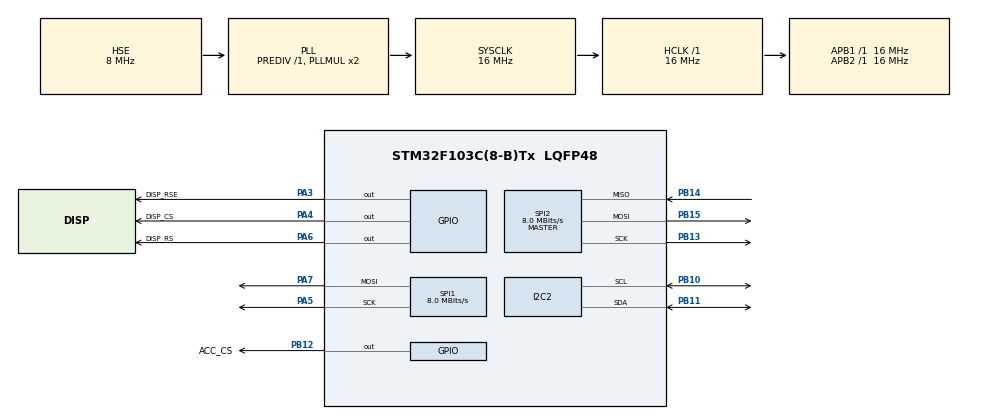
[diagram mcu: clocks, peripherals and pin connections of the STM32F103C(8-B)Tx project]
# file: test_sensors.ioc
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I2C2.I2C_Mode=I2C_Fast
Mcu.Family=STM32F1
Mcu.Name=STM32F103C(8-B)Tx
Mcu.Package=LQFP48
NVIC.PriorityGroup=NVIC_PRIORITYGROUP_4
NVIC.TIM1_UP_IRQn=true\:0\:0\:false\:false\:true\:true\:true
PA13.Mode=Serial_Wire
PA13.Signal=SYS_JTMS-SWDIO
PA14.Mode=Serial_Wire
PA14.Signal=SYS_JTCK-SWCLK
PA3.GPIO_Label=DISP_RSE
PA3.Signal=GPIO_Output
PA4.GPIO_Label=DISP_CS
PA4.PinState=GPIO_PIN_SET
PA4.Signal=GPIO_Output
PA5.Mode=TX_Only_Simplex_Unidirect_Master
PA5.Signal=SPI1_SCK
PA6.GPIO_Label=DISP_RS
PA6.Signal=GPIO_Output
PA7.Mode=TX_Only_Simplex_Unidirect_Master
PA7.Signal=SPI1_MOSI
PB10.Mode=I2C
PB10.Signal=I2C2_SCL
PB11.Mode=I2C
PB11.Signal=I2C2_SDA
PB12.GPIO_Label=ACC_CS
PB12.PinState=GPIO_PIN_SET
PB12.Signal=GPIO_Output
PB13.Mode=Full_Duplex_Master
PB13.Signal=SPI2_SCK
PB14.Mode=Full_Duplex_Master
PB14.Signal=SPI2_MISO
PB15.Mode=Full_Duplex_Master
PB15.Signal=SPI2_MOSI
PD0-OSC_IN.Mode=HSE-External-Oscillator
PD0-OSC_IN.Signal=RCC_OSC_IN
PD1-OSC_OUT.Mode=HSE-External-Oscillator
PD1-OSC_OUT.Signal=RCC_OSC_OUT
ProjectManager.HeapSize=0x200
ProjectManager.StackSize=0x400
ProjectManager.TargetToolchain=Makefile
RCC.AHBFreq_Value=16000000
RCC.APB1Freq_Value=16000000
RCC.APB1TimFreq_Value=16000000
RCC.APB2Freq_Value=16000000
RCC.APB2TimFreq_Value=16000000
RCC.HCLKFreq_Value=16000000
RCC.PLLSourceVirtual=RCC_PLLSOURCE_HSE
RCC.SYSCLKFreq_VALUE=16000000
RCC.SYSCLKSource=RCC_SYSCLKSOURCE_PLLCLK
RCC.USBFreq_Value=16000000
SPI1.CalculateBaudRate=8.0 MBits/s
SPI1.Direction=SPI_DIRECTION_2LINES
SPI1.Mode=SPI_MODE_MASTER
SPI1.VirtualType=VM_MASTER
SPI2.BaudRatePrescaler=SPI_BAUDRATEPRESCALER_2
SPI2.CLKPhase=SPI_PHASE_2EDGE
SPI2.CLKPolarity=SPI_POLARITY_HIGH
SPI2.CalculateBaudRate=8.0 MBits/s
SPI2.Direction=SPI_DIRECTION_2LINES
SPI2.Mode=SPI_MODE_MASTER
SPI2.VirtualType=VM_MASTER
TIM1.Period=999
TIM1.Prescaler=15
VP_TIM1_VS_ClockSourceINT.Mode=Internal
board=custom

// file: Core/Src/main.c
/* USER CODE BEGIN Header */
/**
  ******************************************************************************
  * @file           : main.c
  * @brief          : Main program body
  ******************************************************************************
  * @attention
  *
  * Copyright (c) 2022 STMicroelectronics.
  * All rights reserved.
  *
  * This software is licensed under terms that can be found in the LICENSE file
  * in the root directory of this software component.
  * If no LICENSE file comes with this software, it is provided AS-IS.
  *
  ******************************************************************************
  */
/* USER CODE END Header */
#include "main.h"
#include "i2c.h"
#include "spi.h"
#include "tim.h"
#include "gpio.h"

/* USER CODE BEGIN Includes */
#include <stdio.h>
#include <stdlib.h>
#include <stdbool.h>
#include <string.h>
#include <time.h>
#include <math.h>

#include "display_gmg12864.h"
#include "disp_draw.h"

#include "mag_HMC5883L.h"
#include "acc_ADXL345.h"
#include "clock_DS3231.h"

/* USER CODE END Includes */

void SystemClock_Config(void);

/* USER CODE BEGIN 0 */

static uint8_t disp_bfr[128*64/8] = {0};

static void disp_spi_write_cb(uint8_t * bfr, uint16_t length)
{
  HAL_GPIO_WritePin(DISP_CS_GPIO_Port, DISP_CS_Pin, GPIO_PIN_RESET);
  HAL_SPI_Transmit(&hspi1, bfr, length, 1000);
  HAL_GPIO_WritePin(DISP_CS_GPIO_Port, DISP_CS_Pin, GPIO_PIN_SET);
}

static void disp_set_pin_cb(display_gmg12864_pins_t * pins)
{
  GPIO_PinState states[] = {GPIO_PIN_RESET, GPIO_PIN_SET};
  HAL_GPIO_WritePin(DISP_RSE_GPIO_Port, DISP_RSE_Pin, states[pins->pin_reset] );
  HAL_GPIO_WritePin(DISP_RS_GPIO_Port, DISP_RS_Pin, states[pins->pin_data_cmd] );
}

static void i2c_2_write_cb(uint8_t addr, uint8_t bfr[], uint16_t length)
{
  HAL_I2C_Master_Transmit(&hi2c2, addr << 1, bfr, length, 100);
}
static void i2c_2_read_cb(uint8_t addr, uint8_t bfr[], uint16_t length)
{
  HAL_I2C_Master_Receive(&hi2c2, addr << 1, bfr, length, 100);
}

static void acc_spi_write_cb(uint8_t * bfr, uint16_t length)
{
  HAL_GPIO_WritePin(ACC_CS_GPIO_Port, ACC_CS_Pin, GPIO_PIN_RESET);
  HAL_SPI_Transmit(&hspi2, bfr, length, 10);
  HAL_GPIO_WritePin(ACC_CS_GPIO_Port, ACC_CS_Pin, GPIO_PIN_SET);
}
static void acc_spi_write_read_cb(uint8_t * bfr_tx, uint8_t * bfr_rx, uint16_t length)
{
  HAL_GPIO_WritePin(ACC_CS_GPIO_Port, ACC_CS_Pin, GPIO_PIN_RESET);
  HAL_SPI_TransmitReceive(&hspi2, bfr_tx, bfr_rx, length, 10);
  HAL_GPIO_WritePin(ACC_CS_GPIO_Port, ACC_CS_Pin, GPIO_PIN_SET);
}

typedef struct {
  int16_t x, y, z, t;
} point_t;

static acc_point_t acc;
static mag_point_t mag;
static clock_value_t clock_value;

#define STR_LEN (128/6)
static void update_disp_bfr(uint8_t * bfr)
{
  char str[STR_LEN+6] = {0};

  disp_draw_str_simple(disp_bfr, "mag HMC5883L", 12, 0, 0);
  sprintf(str, "%6d %6d %6d ", mag.x, mag.y, mag.z);
  disp_draw_str_simple(disp_bfr, str, STR_LEN, 0, 1);

  sprintf(str, "acc ADXL345");
  disp_draw_str_simple(disp_bfr, str, strlen(str), 0, 3);
  sprintf(str, "%6d %6d %6d ", acc.x, acc.y, acc.z);
  disp_draw_str_simple(disp_bfr, str, STR_LEN, 0, 4);

  sprintf(str, "Clock DS3231 t=%3d'C", clock_value.temperature);
  disp_draw_str_simple(disp_bfr, str, STR_LEN, 0, 6);
  sprintf(str, "%04d-%02d-%02d %02d:%02d:%02d",
    clock_value.tm_year, clock_value.tm_mon, clock_value.tm_mday,
    clock_value.tm_hour , clock_value.tm_min, clock_value.tm_sec);
  disp_draw_str_simple(disp_bfr, str, STR_LEN, 0, 7);
}
/* USER CODE END 0 */

int main(void)
{

  /* MCU Configuration--------------------------------------------------------*/

  /* Reset of all peripherals, Initializes the Flash interface and the Systick. */
  HAL_Init();

  /* Configure the system clock */
  SystemClock_Config();

  /* Initialize all configured peripherals */
  MX_GPIO_Init();
  MX_SPI1_Init();
  MX_TIM1_Init();
  MX_I2C2_Init();
  MX_SPI2_Init();
  /* USER CODE BEGIN 2 */
  HAL_TIM_Base_Start_IT(&htim1);

  //disp
  static display_gmg12864_t disp_drv = {
    .delay_ms_cb = HAL_Delay,
    .write_spi_cb = disp_spi_write_cb,
    .set_display_pin_cb = disp_set_pin_cb,
    .bfr = disp_bfr,
    .bfr_size = sizeof(disp_bfr)
  };

  display_gmg12864_init(&disp_drv);

  //mag
  static mag_drv_t mag_drv;
  mag_HMC5883L_default(&mag_drv);

  mag_drv.write_i2c_cb = i2c_2_write_cb;
  mag_drv.read_i2c_cb = i2c_2_read_cb;
  mag_drv.delay_ms_cb = HAL_Delay;

  mag_HMC5883L_init(&mag_drv);
  //mag_HMC5883L_compenstation(&mag);

  //acc
  HAL_Delay(5);
  static acc_drv_t acc_drv = {
    .datarate = ACC_DATARATE_6_25,
    .spi_write_cb = acc_spi_write_cb,
    .spi_write_read_cb = acc_spi_write_read_cb,
    .delay_ms_cb = HAL_Delay
  };
  acc_ADXL345_init(&acc_drv);

  //clock
  static clock_drv_t clock_drv = {
    .addr = 0x68,
    .read_i2c_cb = i2c_2_read_cb,
    .write_i2c_cb = i2c_2_write_cb
  };
  clock_DS3231_init(&clock_drv);

  clock_value.tm_hour = 23;
  clock_value.tm_min = 34;
  clock_value.tm_sec = 45;

  clock_value.tm_wday = 6;
  clock_value.tm_mday = 23;
  clock_value.tm_mon = 02;
  clock_value.tm_year = 2022;

  //clock_DS3231_setTime(&clock_value);

  /* USER CODE END 2 */

  /* Infinite loop */
  /* USER CODE BEGIN WHILE */
  while (1)
  {
    HAL_Delay(400);
    mag_HMC5883L_getXYZ(&mag);
    acc_ADXL345_getXYZ(&acc);

    clock_DS3231_getTime(&clock_value);

    update_disp_bfr(disp_bfr);
    display_gmg12864_print();

    /* USER CODE END WHILE */

  }
}

void SystemClock_Config(void)
{
  RCC_OscInitTypeDef RCC_OscInitStruct = {0};
  RCC_ClkInitTypeDef RCC_ClkInitStruct = {0};

  /** Initializes the RCC Oscillators according to the specified parameters
  * in the RCC_OscInitTypeDef structure.
  */
  RCC_OscInitStruct.OscillatorType = RCC_OSCILLATORTYPE_HSE;
  RCC_OscInitStruct.HSEState = RCC_HSE_ON;
  RCC_OscInitStruct.HSEPredivValue = RCC_HSE_PREDIV_DIV1;
  RCC_OscInitStruct.HSIState = RCC_HSI_ON;
  RCC_OscInitStruct.PLL.PLLState = RCC_PLL_ON;
  RCC_OscInitStruct.PLL.PLLSource = RCC_PLLSOURCE_HSE;
  RCC_OscInitStruct.PLL.PLLMUL = RCC_PLL_MUL2;
  if (HAL_RCC_OscConfig(&RCC_OscInitStruct) != HAL_OK)
  {
    Error_Handler();
  }
  /** Initializes the CPU, AHB and APB buses clocks
  */
  RCC_ClkInitStruct.ClockType = RCC_CLOCKTYPE_HCLK|RCC_CLOCKTYPE_SYSCLK
                              |RCC_CLOCKTYPE_PCLK1|RCC_CLOCKTYPE_PCLK2;
  RCC_ClkInitStruct.SYSCLKSource = RCC_SYSCLKSOURCE_PLLCLK;
  RCC_ClkInitStruct.AHBCLKDivider = RCC_SYSCLK_DIV1;
  RCC_ClkInitStruct.APB1CLKDivider = RCC_HCLK_DIV1;
  RCC_ClkInitStruct.APB2CLKDivider = RCC_HCLK_DIV1;

  if (HAL_RCC_ClockConfig(&RCC_ClkInitStruct, FLASH_LATENCY_0) != HAL_OK)
  {
    Error_Handler();
  }
}

/* USER CODE BEGIN 4 */
void tmr1_interrupt(void)
{
  static uint16_t tmr1000 = 1000;
  if (--tmr1000 == 0)
  {
    tmr1000 = 1000;

  }
}
/* USER CODE END 4 */

void Error_Handler(void)
{
  __disable_irq();
  while (1)
  {
  }
}
